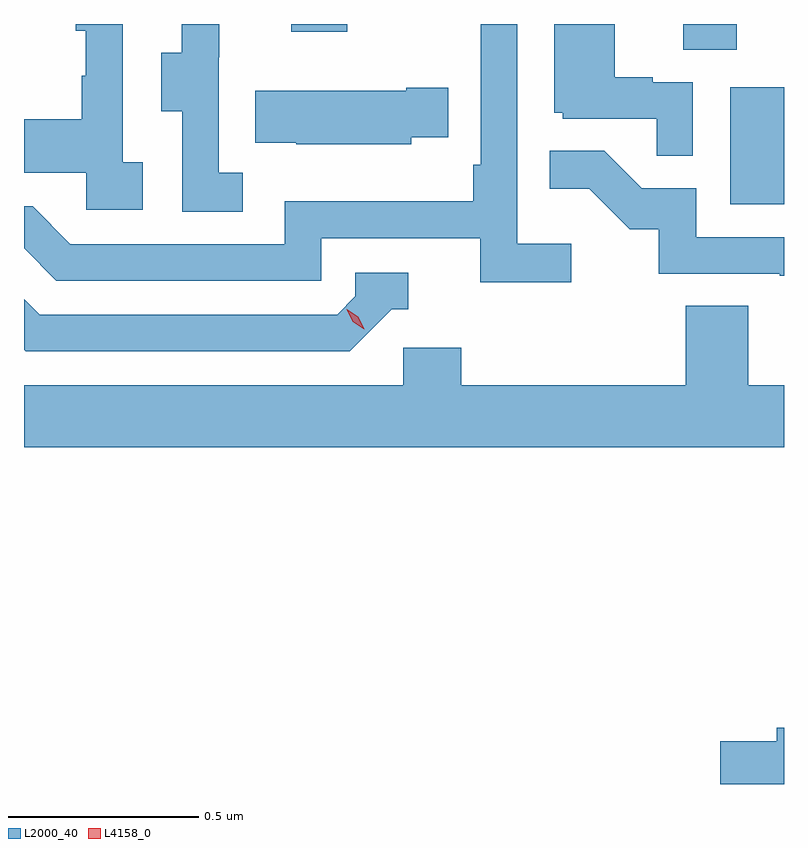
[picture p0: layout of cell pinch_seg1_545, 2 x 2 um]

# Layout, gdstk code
import gdstk
lib = gdstk.Library(unit=1e-6, precision=1e-09)
def R(c, l, rs):  # rectangles x0, y0, x1, y1
    for r in rs: c.add(gdstk.rectangle(r[:2], r[2:], *l))
def P(c, l, *ps):  # polygons
    for p in ps: c.add(gdstk.Polygon(p, *l))
L2000_40 = (2000, 40)
L4158_0 = (4158, 0)

pinch_seg1_545 = lib.new_cell('pinch_seg1_545')
R(pinch_seg1_545, L2000_40, [(1060.244,531.06,1060.386,531.367), (1060.121,531.466,1060.261,531.534), (1059.089,531.513,1059.237,531.534)])
P(pinch_seg1_545, L2000_40, [(1058.698,531.17),(1058.646,531.17),(1058.646,531.534),(1058.522,531.534),(1058.522,531.516),(1058.548,531.516),(1058.548,531.398),(1058.538,531.398),(1058.538,531.283),(1058.386,531.283),(1058.386,531.143),(1058.55,531.143),(1058.55,531.045),(1058.698,531.045)],
  [(1058.962,531.143),(1058.898,531.143),(1058.898,531.447),(1058.9,531.447),(1058.9,531.534),(1058.801,531.534),(1058.801,531.459),(1058.747,531.459),(1058.747,531.304),(1058.802,531.304),(1058.802,531.04),(1058.962,531.04)],
  [(1059.826,530.956),(1059.684,530.956),(1059.684,531.534),(1059.588,531.534),(1059.588,531.163),(1059.568,531.163),(1059.568,531.067),(1059.072,531.067),(1059.072,530.955),(1058.508,530.955),(1058.409,531.054),(1058.386,531.054),(1058.386,530.944),(1058.471,530.859),(1059.168,530.859),(1059.168,530.97),(1059.587,530.97),(1059.587,530.854),(1059.826,530.854)],
  [(1060.146,531.381),(1060.04,531.381),(1060.04,531.394),(1059.94,531.394),(1059.94,531.534),(1059.782,531.534),(1059.782,531.3),(1059.804,531.3),(1059.804,531.285),(1060.051,531.285),(1060.051,531.187),(1060.146,531.187)],
  [(1059.405,531.236),(1059.503,531.236),(1059.503,531.366),(1059.392,531.366),(1059.392,531.358),(1058.995,531.358),(1058.995,531.221),(1059.103,531.221),(1059.103,531.218),(1059.405,531.218)],
  [(1060.386,530.973),(1060.155,530.973),(1060.155,531.102),(1060.011,531.102),(1059.913,531.2),(1059.769,531.2),(1059.769,531.101),(1059.873,531.101),(1059.98,530.994),(1060.057,530.994),(1060.057,530.877),(1060.375,530.877),(1060.375,530.872),(1060.386,530.872)],
  [(1059.354,530.784),(1059.397,530.784),(1059.397,530.88),(1059.258,530.88),(1059.258,530.817),(1059.21,530.769),(1058.427,530.769),(1058.386,530.81),(1058.386,530.677),(1058.39,530.673),(1059.243,530.673)],
  [(1060.386,530.584),(1060.292,530.584),(1060.292,530.792),(1060.127,530.792),(1060.127,530.584),(1059.536,530.584),(1059.536,530.682),(1059.384,530.682),(1059.384,530.584),(1058.386,530.584),(1058.386,530.42),(1060.386,530.42)],
  [(1060.386,529.682),(1060.367,529.682),(1060.367,529.646),(1060.218,529.646),(1060.218,529.534),(1060.386,529.534)])
P(pinch_seg1_545, L4158_0, [(1059.281,530.731),(1059.251,530.751),(1059.235,530.784),(1059.235,530.784),(1059.235,530.784),(1059.266,530.764),(1059.282,530.731),(1059.282,530.731)])

lib.write_gds('pinch_seg1_545.gds')
